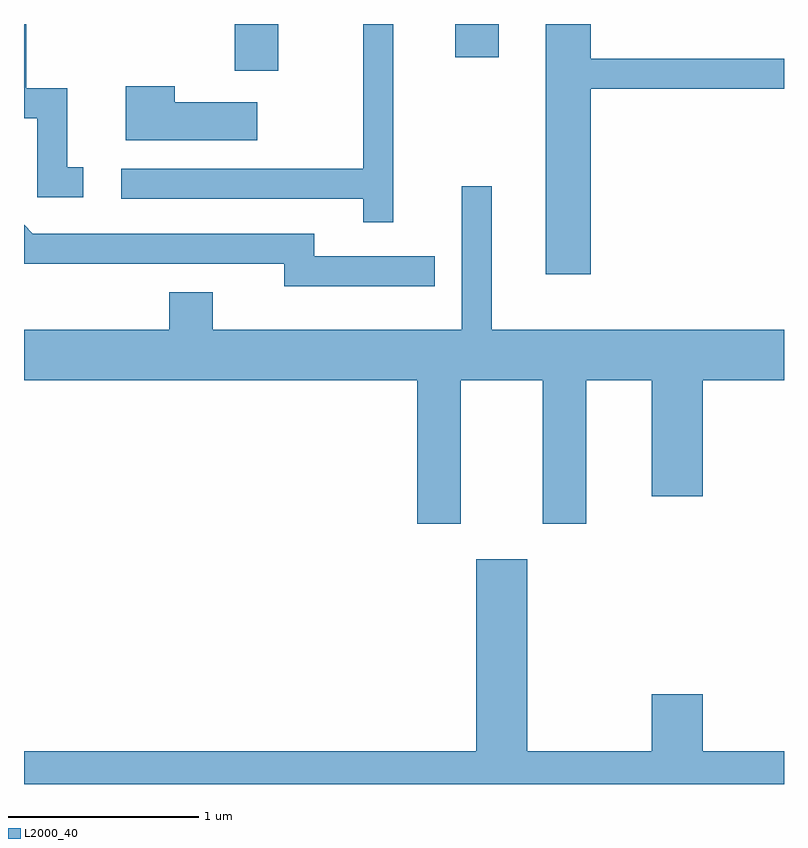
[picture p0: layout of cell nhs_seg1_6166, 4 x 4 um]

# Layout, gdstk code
import gdstk
lib = gdstk.Library(unit=1e-6, precision=1e-09)
def R(c, l, rs):  # rectangles x0, y0, x1, y1
    for r in rs: c.add(gdstk.rectangle(r[:2], r[2:], *l))
def P(c, l, *ps):  # polygons
    for p in ps: c.add(gdstk.Polygon(p, *l))
L2000_40 = (2000, 40)

nhs_seg1_6166 = lib.new_cell('nhs_seg1_6166')
R(nhs_seg1_6166, L2000_40, [(372.721,863.466,372.949,863.712), (373.881,863.536,374.109,863.712)])
P(nhs_seg1_6166, L2000_40, [(374.594,863.371),(375.611,863.371),(375.611,863.529),(374.594,863.529),(374.594,863.712),(374.356,863.712),(374.356,862.396),(374.594,862.396)],
  [(373.554,863.712),(373.396,863.712),(373.396,862.949),(372.123,862.949),(372.123,862.791),(373.396,862.791),(373.396,862.668),(373.554,862.668)],
  [(371.923,862.959),(371.839,862.959),(371.839,863.374),(371.624,863.374),(371.624,863.712),(371.611,863.712),(371.611,863.216),(371.681,863.216),(371.681,862.801),(371.923,862.801)],
  [(372.839,863.299),(372.404,863.299),(372.404,863.384),(372.146,863.384),(372.146,863.101),(372.839,863.101)],
  [(373.909,861.836),(374.341,861.836),(374.341,861.081),(374.569,861.081),(374.569,861.836),(374.916,861.836),(374.916,861.226),(375.184,861.226),(375.184,861.836),(375.611,861.836),(375.611,862.104),(374.074,862.104),(374.074,862.858),(373.916,862.858),(373.916,862.104),(372.604,862.104),(372.604,862.299),(372.376,862.299),(372.376,862.104),(371.611,862.104),(371.611,861.836),(373.681,861.836),(373.681,861.081),(373.909,861.081)],
  [(373.773,862.489),(373.139,862.489),(373.139,862.609),(371.657,862.609),(371.611,862.655),(371.611,862.451),(372.981,862.451),(372.981,862.331),(373.773,862.331)],
  [(375.611,859.884),(375.184,859.884),(375.184,860.184),(374.916,860.184),(374.916,859.884),(374.259,859.884),(374.259,860.894),(373.991,860.894),(373.991,859.884),(371.611,859.884),(371.611,859.712),(375.611,859.712)])

lib.write_gds('nhs_seg1_6166.gds')
